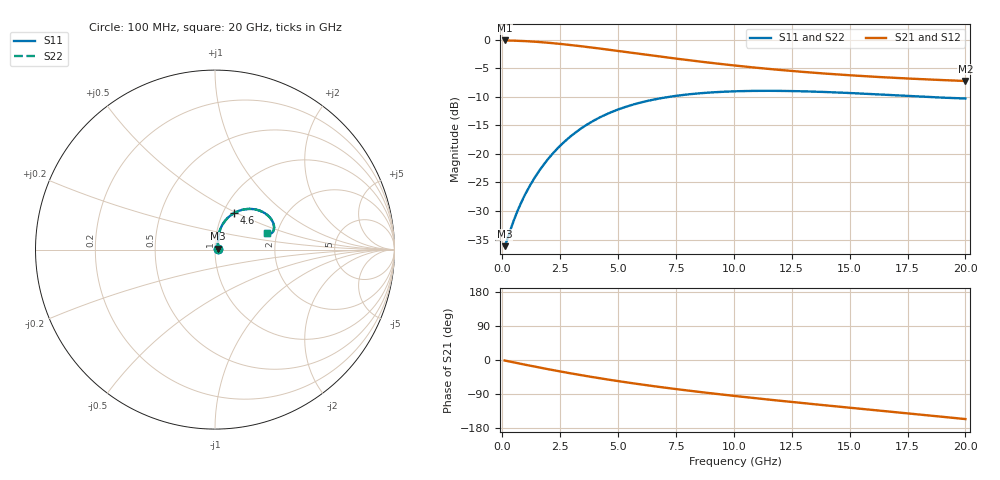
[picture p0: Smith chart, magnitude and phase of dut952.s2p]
! Touchstone file exported from HFSS 2024.1.0
!  File:  C:/UserFiles/LocalFiles/RDL_TSV_Batchsim/temp_RDL_TSV_952_1779965444.aedt
!  Generated:  07:03:46 PM May 28, 2026
!  Design:  RDL_TSV
!  Project:  temp_RDL_TSV_952_1779965444
!  Setup:  Setup1
!  Solution:  Sweep
! Variables:
!  dtsv = 5.32um
!  hbump = 3um
!  htsv = 90.09um
!  ldown = 391.54um
!  lrdl = 196.64um
!  p = 40
!  p1 = 42.41um
!  rhole = 10um
!  subl = 1961.18um
!  t = 450um
!  tdown = 3.84um
!  trdl = 3.98um
!  viad = 10um
!  wdown = 15.71um
!  wrdl = 12.07um
!  xbump = 18um
# GHz S MA R 50.000000
! Terminal data exported
! Port[1] = TM1_1_T1
! Port[2] = TM1_4_T1
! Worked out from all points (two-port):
!   200 points, 100 MHz to 20 GHz, reference 50 ohm
!   highest |S21| = -0.13 dB at 100 MHz (marker M1); lowest = -7.2 dB at 20 GHz (marker M2)
!   |S21| within 3 dB of the highest: start of sweep to 7.164 GHz
!   lowest |S11| = -36.1 dB at 100 MHz (marker M3), VSWR 1.03, Z = 51.5 + j0.455 ohm
!   |S11| at or under -10 dB: start of sweep to 7.216 GHz; 18.25 GHz to end of sweep
!   |S22| runs from -36.1 to -8.9 dB; largest |S21 - S12| = 9.8e-15
!   S11 on the Smith chart (normalised r, x): 100 MHz: 1.03, +0.01; 4.6 GHz: 1.12, +0.48; 20 GHz: 1.77, +0.36
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0.1  0.01558 16.5  0.9849 -1.3  0.9849 -1.3  0.01558 16.5
! Gamma 0 0 0 0
! Port Impedance 50 0 50 0
0.2  0.01752 29.7  0.9843 -2.6  0.9843 -2.6  0.01752 29.7
0.5  0.02627 52.6  0.9809 -6.4  0.9809 -6.4  0.02627 52.6
0.8  0.03687 63.8  0.9758 -10.1  0.9758 -10.1  0.03687 63.7
1.1  0.04886 70.0  0.9691 -13.8  0.9691 -13.8  0.04885 70.0
1.5  0.0667 74.4  0.9576 -18.6  0.9576 -18.6  0.06668 74.4
1.9  0.0863 76.0  0.9436 -23.4  0.9436 -23.4  0.08628 76.0
2.4  0.1126 75.7  0.9233 -29.1  0.9233 -29.1  0.1125 75.7
2.9  0.1398 73.9  0.9008 -34.6  0.9008 -34.6  0.1397 73.9
3.5  0.1723 70.5  0.872 -41.0  0.872 -41.0  0.1722 70.5
4  0.1983 67.1  0.8472 -46.1  0.8472 -46.1  0.1982 67.1
4.6  0.2272 62.8  0.8171 -51.9  0.8171 -51.9  0.2271 62.8
5.6  0.2686 55.6  0.768 -61.1  0.768 -61.1  0.2685 55.6
6.8  0.3061 47.6  0.7129 -71.2  0.7129 -71.2  0.3061 47.6
8.4  0.3378 38.5  0.6486 -83.5  0.6486 -83.5  0.3379 38.5
10.1  0.3537 30.7  0.5925 -95.3  0.5925 -95.3  0.3539 30.7
11.7  0.3567 25.0  0.5503 -105.7  0.5503 -105.7  0.357 25.0
13.4  0.3514 20.5  0.5148 -116.3  0.5148 -116.3  0.3518 20.5
15  0.3414 17.7  0.4885 -125.9  0.4885 -125.9  0.3419 17.7
16.7  0.3282 16.2  0.4663 -136.1  0.4663 -136.1  0.3288 16.2
18.4  0.3152 16.3  0.4487 -146.2  0.4487 -146.2  0.3158 16.2
20  0.3057 17.6  0.435 -155.8  0.435 -155.8  0.3063 17.5
